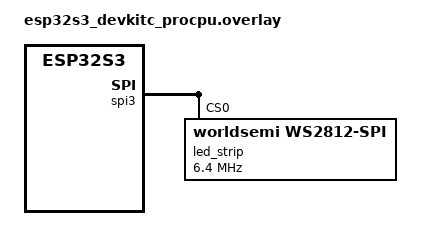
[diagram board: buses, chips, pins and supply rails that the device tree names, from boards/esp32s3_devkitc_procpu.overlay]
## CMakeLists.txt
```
# SPDX-License-Identifier: Apache-2.0

cmake_minimum_required(VERSION 3.20.0)

# ESP32-Zephyr-Test wird von zephyr_module.py als Zephyr-Modul erkannt,
# weil zephyr/CMakeLists.txt und zephyr/Kconfig aus dem Zephyr-RTOS-Clone
# vorhanden sind. Das führt zu einer rekursiven Kconfig-Einbindung.
# Fix: ZEPHYR_MODULES explizit setzen und den Projektpfad herausfiltern.
get_filename_component(_project_root "${CMAKE_CURRENT_SOURCE_DIR}/.." ABSOLUTE)
execute_process(
  COMMAND west list -f "{abspath}"
  WORKING_DIRECTORY "${_project_root}"
  OUTPUT_VARIABLE _all_modules
  OUTPUT_STRIP_TRAILING_WHITESPACE
  ERROR_QUIET
)
string(REPLACE "\n" ";" _modules_list "${_all_modules}")
list(REMOVE_ITEM _modules_list "${_project_root}")
set(ZEPHYR_MODULES ${_modules_list} CACHE STRING "Zephyr module paths" FORCE)

find_package(Zephyr REQUIRED HINTS $ENV{ZEPHYR_BASE})
project(blinky_rgb)

target_sources(app PRIVATE src/main.c)
```

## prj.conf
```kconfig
# SPDX-License-Identifier: Apache-2.0

CONFIG_LOG=y
CONFIG_LED_STRIP=y
CONFIG_WS2812_STRIP_SPI=y

# Farbwechsel-Pause (ms) – direkt in src/main.c als BLINKY_RGB_DELAY_MS definiert
```

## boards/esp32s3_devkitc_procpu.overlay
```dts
/*
 * Board-Overlay für ESP32-S3-DevKitC v1.0 / Klon (procpu)
 *
 * Konfiguriert die onboard-adressierbare RGB-LED (WS2812, GPIO48) als
 * LED-Strip via SPI3.
 *
 * Hintergrund: Im Standard-DevKitC-Pinctrl ist GPIO38 als SPI3_CSEL belegt.
 * Wir überschreiben group1 ohne CSEL und setzen MOSI auf GPIO48
 * (original DevKitC v1.0 / viele Klone verwenden GPIO48 statt GPIO38).
 *
 * SPDX-License-Identifier: Apache-2.0
 */

#include <zephyr/dt-bindings/led/led.h>

/* -----------------------------------------------------------------------
 * spim3_default komplett neu definieren:
 *   group1: MISO=GPIO37, SCLK=GPIO36 (kein CSEL)
 *   group2: MOSI=GPIO48 (Datenleitung zur WS2812-LED)
 * ----------------------------------------------------------------------- */
&pinctrl {
	spim3_default: spim3_default {
		group1 {
			pinmux = <SPIM3_MISO_GPIO37>,
				 <SPIM3_SCLK_GPIO36>;
		};
		group2 {
			pinmux = <SPIM3_MOSI_GPIO48>;
			output-low;
		};
	};
};

/* -----------------------------------------------------------------------
 * SPI3 mit WS2812-Treiber
 * ----------------------------------------------------------------------- */
&spi3 {

	/*
	 * line-idle-low: Sicherstellt, dass MOSI im Leerlauf LOW bleibt
	 * (WS2812-Protokollanforderung).
	 */
	line-idle-low;

	status = "okay";

	led_strip: ws2812@0 {
		compatible = "worldsemi,ws2812-spi";

		/* SPI-Pflichtfelder (reg wird vom Treiber ignoriert) */
		reg = <0>;
		spi-max-frequency = <6400000>;

		/* WS2812-Protokoll: 1 LED in der Kette */
		chain-length = <1>;
		spi-cpha;

		/*
		 * Bitkodierung via SPI-Byte:
		 *   0-Bit: 0xC0 = 11000000 → ~313 ns HIGH, ~938 ns LOW
		 *   1-Bit: 0xF0 = 11110000 → ~625 ns HIGH, ~625 ns LOW
		 * Passt zu WS2812-Timing bei spi-max-frequency = 6,4 MHz.
		 */
		spi-one-frame  = <0xf0>;
		spi-zero-frame = <0xc0>;

		/* WS2812 verwendet intern GRB-Reihenfolge */
		color-mapping = <LED_COLOR_ID_GREEN
				 LED_COLOR_ID_RED
				 LED_COLOR_ID_BLUE>;
	};
};

/* -----------------------------------------------------------------------
 * Alias, damit main.c den Strip per DT_ALIAS(led_strip) findet
 * ----------------------------------------------------------------------- */
/ {
	aliases {
		led-strip = &led_strip;
	};
};
```

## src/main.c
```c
/*
 * Blinky RGB – ESP32-S3-DevKitC
 *
 * Blendet sanft zwischen Farben über (WS2812 via SPI3, GPIO48).
 *
 * SPDX-License-Identifier: Apache-2.0
 */

#include <string.h>

#define LOG_LEVEL 4
#include <zephyr/logging/log.h>
LOG_MODULE_REGISTER(blinky_rgb);

#include <zephyr/kernel.h>
#include <zephyr/drivers/led_strip.h>
#include <zephyr/device.h>
#include <zephyr/sys/util.h>

#define STRIP_NODE       DT_ALIAS(led_strip)
#define STRIP_NUM_PIXELS DT_PROP(DT_ALIAS(led_strip), chain_length)

/* Dauer eines Übergangs: FADE_STEPS × FADE_STEP_MS = 1200 ms */
#define FADE_STEPS    60
#define FADE_STEP_MS  20

#define RGB(_r, _g, _b) { .r = (_r), .g = (_g), .b = (_b) }

/* ~20 % Helligkeit (0x33 = 51 von 255) */
static const struct led_rgb colors[] = {
	RGB(0x33, 0x00, 0x00), /* Rot     */
	RGB(0x33, 0x0f, 0x00), /* Orange  */
	RGB(0x33, 0x33, 0x00), /* Gelb    */
	RGB(0x00, 0x33, 0x00), /* Grün    */
	RGB(0x00, 0x33, 0x33), /* Cyan    */
	RGB(0x00, 0x00, 0x33), /* Blau    */
	RGB(0x33, 0x00, 0x33), /* Magenta */
	RGB(0x33, 0x33, 0x33), /* Weiß    */
	RGB(0x00, 0x00, 0x00), /* Aus     */
};

static struct led_rgb pixels[STRIP_NUM_PIXELS];

static const struct device *const strip = DEVICE_DT_GET(STRIP_NODE);

int main(void)
{
	size_t color_idx = 0;
	int rc;

	if (!device_is_ready(strip)) {
		LOG_ERR("LED-Strip-Gerät '%s' nicht bereit", strip->name);
		return 0;
	}

	LOG_INF("RGB-Blinky gestartet auf '%s' (%u Pixel)",
		strip->name, (unsigned int)STRIP_NUM_PIXELS);

	while (1) {
		const struct led_rgb *from = &colors[color_idx];
		color_idx = (color_idx + 1) % ARRAY_SIZE(colors);
		const struct led_rgb *to = &colors[color_idx];

		for (int step = 0; step <= FADE_STEPS; step++) {
			pixels[0].r = (uint8_t)((int)from->r + (int)(to->r - from->r) * step / FADE_STEPS);
			pixels[0].g = (uint8_t)((int)from->g + (int)(to->g - from->g) * step / FADE_STEPS);
			pixels[0].b = (uint8_t)((int)from->b + (int)(to->b - from->b) * step / FADE_STEPS);

			rc = led_strip_update_rgb(strip, pixels, STRIP_NUM_PIXELS);
			if (rc) {
				LOG_ERR("Strip-Update fehlgeschlagen: %d", rc);
			}
			k_sleep(K_MSEC(FADE_STEP_MS));
		}
	}

	return 0;
}
```
